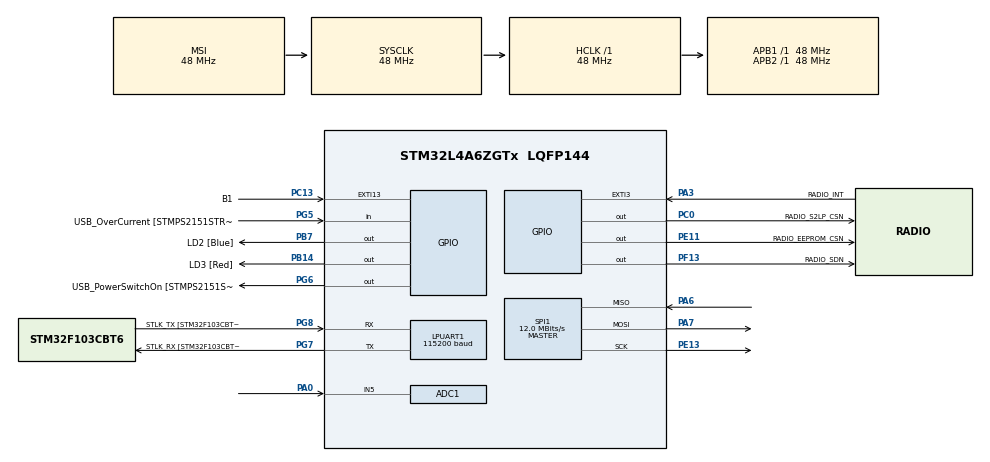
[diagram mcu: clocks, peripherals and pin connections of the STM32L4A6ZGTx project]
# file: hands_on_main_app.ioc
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ADC1.Channel-0\#ChannelRegularConversion=ADC_CHANNEL_5
ADC1.ClockPrescaler=ADC_CLOCK_ASYNC_DIV10
ADC1.DMAContinuousRequests=ENABLE
ADC1.ExternalTrigConv=ADC_EXTERNALTRIG_T3_TRGO
ADC1.NbrOfConversionFlag=1
ADC1.OffsetNumber-0\#ChannelRegularConversion=ADC_OFFSET_NONE
ADC1.Rank-0\#ChannelRegularConversion=1
ADC1.SamplingTime-0\#ChannelRegularConversion=ADC_SAMPLETIME_2CYCLES_5
ADC1.master=1
Dma.ADC1.0.Direction=DMA_PERIPH_TO_MEMORY
Dma.ADC1.0.Instance=DMA1_Channel1
Dma.ADC1.0.MemDataAlignment=DMA_MDATAALIGN_HALFWORD
Dma.ADC1.0.MemInc=DMA_MINC_ENABLE
Dma.ADC1.0.Mode=DMA_CIRCULAR
Dma.ADC1.0.PeriphDataAlignment=DMA_PDATAALIGN_HALFWORD
Dma.ADC1.0.PeriphInc=DMA_PINC_DISABLE
Dma.ADC1.0.Priority=DMA_PRIORITY_LOW
Dma.Request0=ADC1
LPUART1.AutoBaudRateEnableParam=UART_ADVFEATURE_AUTOBAUDRATE_DISABLE
LPUART1.BaudRate=115200
LPUART1.DMADisableonRxErrorParam=UART_ADVFEATURE_DMA_ENABLEONRXERROR
LPUART1.DataInvertParam=UART_ADVFEATURE_DATAINV_DISABLE
LPUART1.MSBFirstParam=UART_ADVFEATURE_MSBFIRST_DISABLE
LPUART1.Mode=UART_MODE_TX_RX
LPUART1.OneBitSampling=UART_ONE_BIT_SAMPLE_DISABLE
LPUART1.OverrunDisableParam=UART_ADVFEATURE_OVERRUN_ENABLE
LPUART1.Parity=UART_PARITY_NONE
LPUART1.RxPinLevelInvertParam=UART_ADVFEATURE_RXINV_DISABLE
LPUART1.StopBits=UART_STOPBITS_1
LPUART1.SwapParam=UART_ADVFEATURE_SWAP_DISABLE
LPUART1.TxPinLevelInvertParam=UART_ADVFEATURE_TXINV_DISABLE
LPUART1.WordLength=UART_WORDLENGTH_8B
Mcu.Family=STM32L4
Mcu.Name=STM32L4A6ZGTx
Mcu.Package=LQFP144
NVIC.DMA1_Channel1_IRQn=true\:1\:0\:true\:false\:true\:false\:true\:true
NVIC.EXTI15_10_IRQn=true\:0\:0\:false\:false\:true\:true\:true\:true
NVIC.EXTI3_IRQn=true\:0\:0\:false\:false\:true\:true\:true\:true
NVIC.PriorityGroup=NVIC_PRIORITYGROUP_4
NVIC.TIM3_IRQn=true\:0\:0\:true\:false\:true\:true\:true\:true
PA0.Signal=ADCx_IN5
PA10.GPIO_Label=USB_ID
PA10.Signal=USB_OTG_FS_ID
PA11.GPIO_Label=USB_DM
PA11.Signal=USB_OTG_FS_DM
PA12.GPIO_Label=USB_DP
PA12.Signal=USB_OTG_FS_DP
PA13\ (JTMS/SWDIO).GPIO_Label=TMS
PA13\ (JTMS/SWDIO).Mode=Trace_Asynchronous_SW
PA13\ (JTMS/SWDIO).Signal=SYS_JTMS-SWDIO
PA14\ (JTCK/SWCLK).GPIO_Label=TCK
PA14\ (JTCK/SWCLK).Mode=Trace_Asynchronous_SW
PA14\ (JTCK/SWCLK).Signal=SYS_JTCK-SWCLK
PA3.GPIO_Label=RADIO_INT
PA3.GPIO_ModeDefaultEXTI=GPIO_MODE_IT_FALLING
PA3.Signal=GPXTI3
PA6.Mode=Full_Duplex_Master
PA6.Signal=SPI1_MISO
PA7.Mode=Full_Duplex_Master
PA7.Signal=SPI1_MOSI
PA8.GPIO_Label=USB_SOF [TP1]
PA8.Signal=USB_OTG_FS_SOF
PA9.GPIO_Label=USB_VBUS
PA9.Signal=USB_OTG_FS_VBUS
PB14.GPIO_Label=LD3 [Red]
PB14.Signal=GPIO_Output
PB3\ (JTDO/TRACESWO).GPIO_Label=SWO
PB3\ (JTDO/TRACESWO).Mode=Trace_Asynchronous_SW
PB3\ (JTDO/TRACESWO).Signal=SYS_JTDO-SWO
PB7.GPIO_Label=LD2 [Blue]
PB7.Signal=GPIO_Output
PC0.GPIO_Label=RADIO_S2LP_CSN
PC0.GPIO_Speed=GPIO_SPEED_FREQ_VERY_HIGH
PC0.PinState=GPIO_PIN_SET
PC0.Signal=GPIO_Output
PC13.GPIO_Label=B1
PC13.GPIO_ModeDefaultEXTI=GPIO_MODE_IT_RISING
PC13.Signal=GPXTI13
PC14-OSC32_IN\ (PC14).Mode=LSE-External-Oscillator
PC14-OSC32_IN\ (PC14).Signal=RCC_OSC32_IN
PC15-OSC32_OUT\ (PC15).Mode=LSE-External-Oscillator
PC15-OSC32_OUT\ (PC15).Signal=RCC_OSC32_OUT
PE11.GPIO_Label=RADIO_EEPROM_CSN
PE11.PinState=GPIO_PIN_SET
PE11.Signal=GPIO_Output
PE13.Mode=Full_Duplex_Master
PE13.Signal=SPI1_SCK
PF13.GPIO_Label=RADIO_SDN
PF13.PinState=GPIO_PIN_SET
PF13.Signal=GPIO_Output
PG5.GPIO_Label=USB_OverCurrent [STMPS2151STR_FAULT]
PG5.Signal=GPIO_Input
PG6.GPIO_Label=USB_PowerSwitchOn [STMPS2151STR_EN]
PG6.Signal=GPIO_Output
PG7.GPIO_Label=STLK_RX [STM32F103CBT6_PA3]
PG7.Mode=Asynchronous
PG7.Signal=LPUART1_TX
PG8.GPIO_Label=STLK_TX [STM32F103CBT6_PA2]
PG8.Mode=Asynchronous
PG8.Signal=LPUART1_RX
PH1-OSC_OUT\ (PH1).Signal=RCC_OSC_OUT
ProjectManager.HeapSize=0x200
ProjectManager.StackSize=0x400
ProjectManager.TargetToolchain=STM32CubeIDE
RCC.ADCCLockSelection=RCC_ADCCLKSOURCE_SYSCLK
RCC.ADCFreq_Value=48000000
RCC.AHBFreq_Value=48000000
RCC.APB1Freq_Value=48000000
RCC.APB1TimFreq_Value=48000000
RCC.APB2Freq_Value=48000000
RCC.APB2TimFreq_Value=48000000
RCC.CortexFreq_Value=48000000
RCC.FLatency=FLASH_LATENCY_2
RCC.HCLKFreq_Value=48000000
RCC.HSE_VALUE=8000000
RCC.HSI48_VALUE=48000000
RCC.HSI_VALUE=16000000
RCC.LPUART1CLockSelection=RCC_LPUART1CLKSOURCE_SYSCLK
RCC.MSIClockRange=RCC_MSIRANGE_11
RCC.MSI_VALUE=48000000
RCC.PLLN=24
RCC.PLLSAI1N=24
RCC.SYSCLKFreq_VALUE=48000000
RCC.USBFreq_Value=576000000
RCC.VCOOutputFreq_Value=1152000000
SH.ADCx_IN5.0=ADC1_IN5,IN5-Single-Ended
SPI1.BaudRatePrescaler=SPI_BAUDRATEPRESCALER_4
SPI1.CalculateBaudRate=12.0 MBits/s
SPI1.DataSize=SPI_DATASIZE_8BIT
SPI1.Direction=SPI_DIRECTION_2LINES
SPI1.Mode=SPI_MODE_MASTER
SPI1.VirtualType=VM_MASTER
TIM3.Period=195
TIM3.Prescaler=23
TIM3.TIM_MasterOutputTrigger=TIM_TRGO_UPDATE
VP_AES_VS_AES.Mode=AES_Activate
VP_TIM3_VS_ClockSourceINT.Mode=Internal
board=NUCLEO-L4A6ZG

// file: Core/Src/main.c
/* USER CODE BEGIN Header */
/**
  ****************************************************************************
  * @file           : main.c
  * @brief          : Main program body
  ****************************************************************************
  */
/* USER CODE END Header */
#include "main.h"
#include "adc.h"
// #include "aes.h"  // HW AES optimization — disabled
#include "dma.h"
#include "spi.h"
#include "tim.h"
#include "gpio.h"

/* USER CODE BEGIN Includes */
#include <stdio.h>
#include <string.h>
#include "arm_math.h"
#include "adc_dblbuf.h"
#include "retarget.h"
#include "s2lp.h"
#include "spectrogram.h"
#include "eval_radio.h"
#include "packet.h"
#include "config.h"
#include "utils.h"
#include "usart.h"

/* USER CODE END Includes */

/* USER CODE BEGIN PV */
volatile uint8_t btn_press = 0;
/* USER CODE END PV */

void SystemClock_Config(void);

/* USER CODE BEGIN 0 */

void HAL_GPIO_EXTI_Callback(uint16_t GPIO_Pin)
{
    if (GPIO_Pin == B1_Pin) {
        btn_press = 1;
    }
    else if (GPIO_Pin == RADIO_INT_Pin) {
        S2LP_IRQ_Handler();
    }
}

void run(void)
{
    ADC_StartListening();

    while (1)
    {
        __WFI();
    }
}

/* USER CODE END 0 */

int main(void)
{
    HAL_Init();
    SystemClock_Config();

    MX_GPIO_Init();
    MX_DMA_Init();
    MX_SPI1_Init();
    MX_TIM3_Init();
    MX_ADC1_Init();
    // MX_AES_Init();  // HW AES optimization — disabled

    /* USER CODE BEGIN 2 */
    if (ENABLE_UART) {
        MX_LPUART1_UART_Init();
    }

    RetargetInit(&hlpuart1);
    DEBUG_PRINT("\r\n========================================\r\n");
    DEBUG_PRINT("STM32 Spectrogram System\r\n");
    DEBUG_PRINT("========================================\r\n");

    CoreDebug->DEMCR |= CoreDebug_DEMCR_TRCENA_Msk;
    DWT->CYCCNT = 0;
    DWT->CTRL |= DWT_CTRL_CYCCNTENA_Msk;

    Spectrogram_Init();

#if ENABLE_RADIO
    HAL_StatusTypeDef err = S2LP_Init(&hspi1);
    if (err) {
        DEBUG_PRINT("[S2LP] Error: %u\r\n", err);
        Error_Handler();
    } else {
        DEBUG_PRINT("[S2LP] Init OK\r\n");
    }
#endif

    if (HAL_ADCEx_Calibration_Start(&hadc1, ADC_SINGLE_ENDED) != HAL_OK) {
        DEBUG_PRINT("ADC calibration error\r\n");
        Error_Handler();
    }

    if (HAL_TIM_Base_Start(&htim3) != HAL_OK) {
        DEBUG_PRINT("Timer error\r\n");
        Error_Handler();
    }

    DEBUG_PRINT("HCLK: %lu Hz\r\n", HAL_RCC_GetHCLKFreq());
    DEBUG_PRINT("TIM3 freq: %lu Hz\r\n", HAL_RCC_GetHCLKFreq() / (htim3.Init.Prescaler + 1) / (htim3.Init.Period + 1));
    DEBUG_PRINT("\r\nSystem ready!\r\n");
    DEBUG_PRINT("========================================\r\n");
    /* USER CODE END 2 */

#if (RUN_CONFIG == MAIN_APP)
    run();
#elif (RUN_CONFIG == EVAL_RADIO)
    eval_radio();
#endif

    while (1) {}
}

void SystemClock_Config(void)
{
    RCC_OscInitTypeDef RCC_OscInitStruct = {0};
    RCC_ClkInitTypeDef RCC_ClkInitStruct = {0};

    if (HAL_PWREx_ControlVoltageScaling(PWR_REGULATOR_VOLTAGE_SCALE1) != HAL_OK)
        Error_Handler();

    RCC_OscInitStruct.OscillatorType = RCC_OSCILLATORTYPE_MSI;
    RCC_OscInitStruct.MSIState = RCC_MSI_ON;
    RCC_OscInitStruct.MSICalibrationValue = 0;
    RCC_OscInitStruct.MSIClockRange = RCC_MSIRANGE_6;
    RCC_OscInitStruct.PLL.PLLState = RCC_PLL_NONE;
    if (HAL_RCC_OscConfig(&RCC_OscInitStruct) != HAL_OK)
        Error_Handler();

    RCC_ClkInitStruct.ClockType = RCC_CLOCKTYPE_HCLK|RCC_CLOCKTYPE_SYSCLK
                                |RCC_CLOCKTYPE_PCLK1|RCC_CLOCKTYPE_PCLK2;
    RCC_ClkInitStruct.SYSCLKSource = RCC_SYSCLKSOURCE_MSI;
    RCC_ClkInitStruct.AHBCLKDivider = RCC_SYSCLK_DIV1;
    RCC_ClkInitStruct.APB1CLKDivider = RCC_HCLK_DIV1;
    RCC_ClkInitStruct.APB2CLKDivider = RCC_HCLK_DIV1;

    if (HAL_RCC_ClockConfig(&RCC_ClkInitStruct, FLASH_LATENCY_0) != HAL_OK)
        Error_Handler();
}

void Error_Handler(void)
{
    __disable_irq();
    while (1) {
        HAL_GPIO_WritePin(GPIOB, LD3_Pin, GPIO_PIN_SET);
        for (volatile int i = 0; i < SystemCoreClock / 200; i++);
        HAL_GPIO_WritePin(GPIOB, LD3_Pin, GPIO_PIN_RESET);
        for (volatile int i = 0; i < SystemCoreClock / 200; i++);
    }
}
